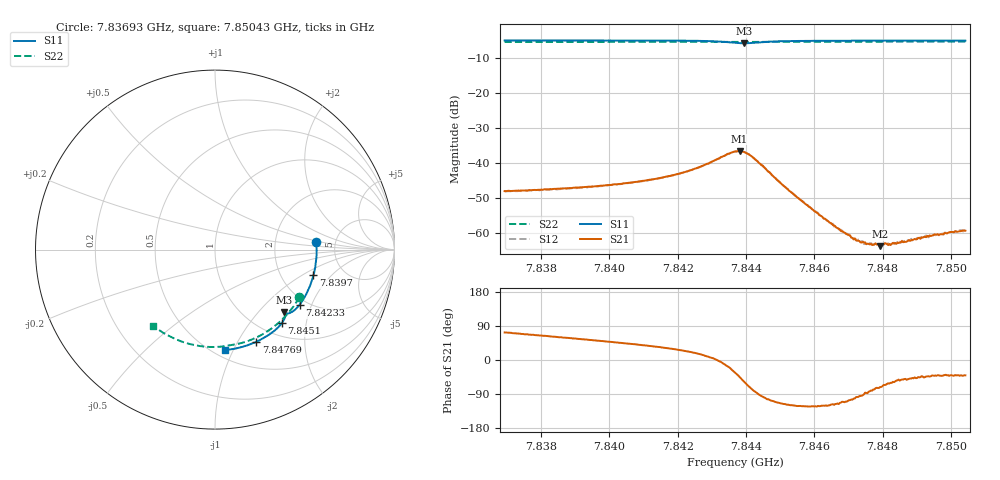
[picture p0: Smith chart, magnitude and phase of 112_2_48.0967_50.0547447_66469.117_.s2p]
#  HZ  S  RI  R  50.00
! Rohde & Schwarz Vector Network Analyzer
! Rohde-Schwarz,ZNB20-2Port,1311601062101988,3.16
! Created: UTC 12/23/2023, 3:45:51 AM
! freq[Hz]  re:S11  im:S11  re:S21  im:S21  re:S12  im:S12  re:S22  im:S22
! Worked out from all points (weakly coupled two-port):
!   401 points, 7.83693 GHz to 7.85043 GHz, reference 50 ohm
!   highest |S21| = -36.63 dB at 7.84381 GHz (marker M1); lowest = -63.9 dB at 7.84793 GHz (marker M2)
!   lowest |S11| = -5.7 dB at 7.84395 GHz (marker M3), VSWR 3.14, Z = 73.1 - j69.2 ohm
!   |S11| at or under -10 dB: nowhere
!   |S22| runs from -5.4 to -5.3 dB; largest |S21 - S12| = 0.0003
!   S11 on the Smith chart (normalised r, x): 7.83693 GHz: 3.56, +0.42; 7.8397 GHz: 3.03, -1.27; 7.84233 GHz: 1.83, -1.64; 7.8451 GHz: 1.24, -1.46; 7.84769 GHz: 0.80, -1.20; 7.85043 GHz: 0.56, -0.93
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7.836928e9  0.5647 0.0403  0.00117 0.00376  0.00119 0.00371  0.4696 -0.2659
7.839189e9  0.5563 -0.1096  0.00258 0.00365  0.00255 0.00361  0.373 -0.3908
7.839695e9  0.5487 -0.1428  0.00296 0.00361  0.00294 0.00359  0.3468 -0.4146
7.84145e9  0.5051 -0.2541  0.00497 0.00339  0.00492 0.0034  0.2445 -0.4829
7.842328e9  0.4711 -0.3073  0.00716 0.00289  0.00708 0.00291  0.188 -0.5077
7.843172e9  0.4222 -0.3506  0.0114 -0.000191  0.0113 -0.000212  0.131 -0.5244
7.843678e9  0.3867 -0.3538  0.0122 -0.00798  0.0121 -0.00786  0.097 -0.5302
7.843813e9  0.3824 -0.3498  0.0104 -0.0104  0.0105 -0.0103  0.0885 -0.5318
7.843948e9  0.3826 -0.3468  0.00767 -0.012  0.00772 -0.0121  0.0799 -0.5331
7.844117e9  0.3867 -0.3478  0.00397 -0.0123  0.00393 -0.0122  0.0694 -0.5352
7.844285e9  0.3906 -0.3549  0.000938 -0.011  0.00106 -0.0111  0.0581 -0.5374
7.845095e9  0.3733 -0.4083  -0.00207 -0.00424  -0.00208 -0.00426  0.00165 -0.5427
7.845939e9  0.3313 -0.4518  -0.00115 -0.00183  -0.00119 -0.00184  -0.058 -0.5405
7.846715e9  0.2874 -0.4832  -0.000505 -0.00102  -0.000466 -0.00102  -0.112 -0.5326
7.84712e9  0.2635 -0.4968  -0.000213 -0.000815  -0.000242 -0.000805  -0.1396 -0.5261
7.847458e9  0.2432 -0.5074  -4.86e-06 -0.000722  2.49e-05 -0.000684  -0.1626 -0.5197
7.847694e9  0.2289 -0.5142  0.000105 -0.000657  0.000109 -0.000678  -0.1783 -0.5148
7.84793e9  0.2144 -0.5207  0.000204 -0.000606  0.000242 -0.000616  -0.1939 -0.5092
7.8482e9  0.1974 -0.5273  0.000323 -0.000607  0.000322 -0.000594  -0.2116 -0.5022
7.84955e9  0.1108 -0.5519  0.000711 -0.000618  0.00067 -0.000628  -0.2957 -0.4589
7.850225e9  0.0665 -0.5585  0.000791 -0.000672  0.000789 -0.000698  -0.3343 -0.4319
7.850428e9  0.0532 -0.5599  0.00081 -0.000693  0.000798 -0.000721  -0.3456 -0.4231
